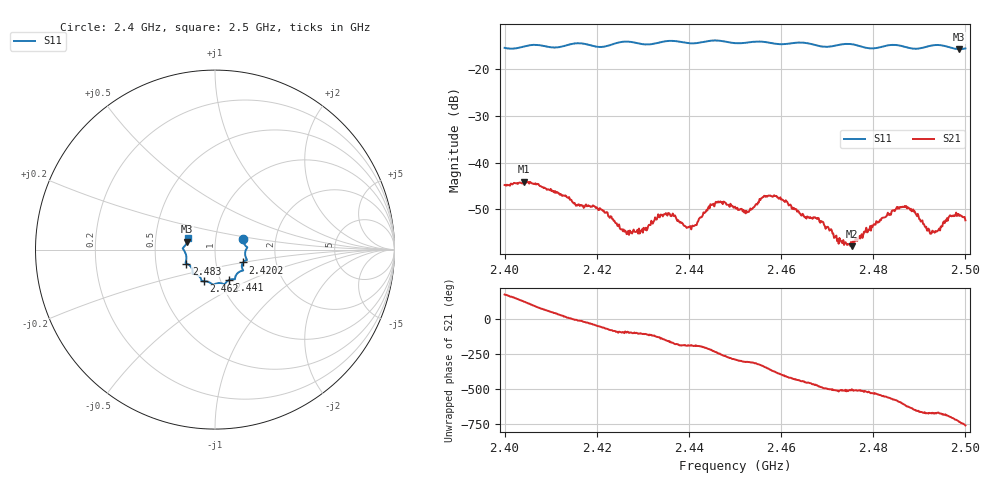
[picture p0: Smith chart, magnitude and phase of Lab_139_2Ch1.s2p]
# Hz S RI R 50
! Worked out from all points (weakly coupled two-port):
!   601 points, 2.4 GHz to 2.5 GHz, reference 50 ohm
!   highest |S21| = -44.08 dB at 2.4042 GHz (marker M1); lowest = -57.8 dB at 2.4753 GHz (marker M2)
!   lowest |S11| = -15.8 dB at 2.4987 GHz (marker M3), VSWR 1.39, Z = 36.4 + j3.28 ohm
!   |S11| at or under -10 dB: start of sweep to end of sweep
!   S12 and S22 are empty: the file has one direction only
!   S11 on the Smith chart (normalised r, x): 2.4 GHz: 1.36, +0.17; 2.4202 GHz: 1.35, -0.20; 2.441 GHz: 1.09, -0.39; 2.462 GHz: 0.83, -0.30; 2.483 GHz: 0.72, -0.12; 2.5 GHz: 0.73, +0.09
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2.4e9  0.1563 0.0601  -0.0057 0.000808  0 0  0 0
2.404167e9  0.1723 0.0191  -0.00326 0.00533  0 0  0 0
2.416667e9  0.1776 -0.0585  0.00337 -0.00102  0 0  0 0
2.420167e9  0.1561 -0.0718  0.00194 -0.00261  0 0  0 0
2.4265e9  0.157 -0.1166  -0.000286 -0.0017  0 0  0 0
2.4305e9  0.1297 -0.1279  -0.00063 -0.00181  0 0  0 0
2.433333e9  0.113 -0.1524  -0.0019 -0.00206  0 0  0 0
2.436e9  0.1108 -0.1652  -0.00266 -0.000492  0 0  0 0
2.441e9  0.0768 -0.1706  -0.00201 0.000587  0 0  0 0
2.446167e9  0.0513 -0.194  -0.00157 0.00341  0 0  0 0
2.45e9  0.0267 -0.1862  0.00129 0.00313  0 0  0 0
2.4525e9  0.00344 -0.1905  0.00191 0.00238  0 0  0 0
2.457333e9  -0.0204 -0.1897  0.00445 0.000134  0 0  0 0
2.462e9  -0.0618 -0.176  0.00165 -0.00316  0 0  0 0
2.466667e9  -0.0765 -0.1668  -0.000727 -0.00245  0 0  0 0
2.475333e9  -0.1253 -0.1338  -0.00105 -0.000738  0 0  0 0
2.483e9  -0.1594 -0.078  -0.00257 0.000995  0 0  0 0
2.483333e9  -0.161 -0.0774  -0.00252 0.00117  0 0  0 0
2.487333e9  -0.16 -0.0557  -0.000151 0.00323  0 0  0 0
2.492833e9  -0.1778 0.00245  0.00125 0.0014  0 0  0 0
2.498667e9  -0.1561 0.0439  0.00256 -0.000827  0 0  0 0
2.5e9  -0.1531 0.0626  0.00178 -0.00164  0 0  0 0
